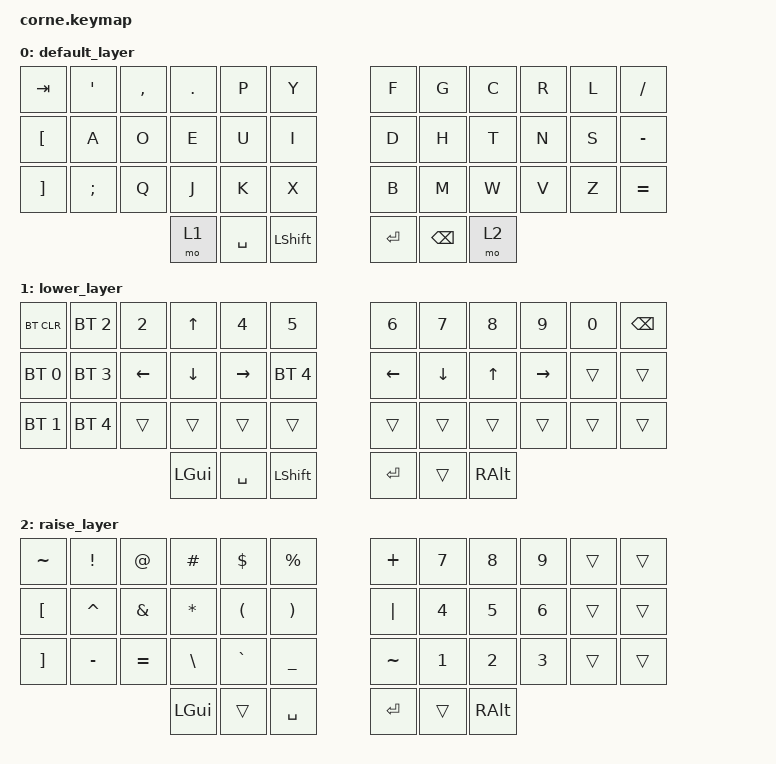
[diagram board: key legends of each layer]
/*
 * Copyright (c) 2020 The ZMK Contributors
 *
 * SPDX-License-Identifier: MIT
 */

#include <behaviors.dtsi>
#include <dt-bindings/zmk/keys.h>
#include <dt-bindings/zmk/bt.h>

/ {

        keymap {
                compatible = "zmk,keymap";

                default_layer {
// -----------------------------------------------------------------------------------------
// |  TAB |  '  |  ,  |  .  |  P  |  Y  |   |  F  |  G   |  C  |  R  |  L  | /  |
// | LBKT |  A  |  O  |  E  |  U  |  I  |   |  D  |  H   |  T  |  N  |  S  | -  |
// | RBKT |  ;  |  Q  |  J  |  K  |  X  |   |  B  |  M   |  W  |  V  |  Z  | =  |
//                    | GUI | SPACE | LSHFT |   | RET | BSPC  | GUI |
                        bindings = <
   &kp TAB  &kp SQT  &kp COMMA &kp DOT   &kp P       &kp Y    &kp F    &kp G &kp C &kp R &kp L &kp SLASH  // FIX: SLASH
   &kp LBKT &kp A    &kp O     &kp E     &kp U       &kp I    &kp D    &kp H &kp T &kp N &kp S &kp MINUS
   &kp RBKT &kp SEMI &kp Q     &kp J     &kp K       &kp X    &kp B    &kp M &kp W &kp V &kp Z &kp EQUAL
                    &mo 1      &kp SPACE &kp LSHFT   &kp RET  &kp BSPC &mo 2
                        >;
                };


                lower_layer {
// -----------------------------------------------------------------------------------------
// |  BTCLR |  BT2  |  2   |  UP  |  4    |  5  |   |  6  |  7  |  8  |  9  |  0  | BSPC |
// |  BT0   |  BT3  | LEFT | DOWN | RIGHT | BT5 |   | LFT | DWN |  UP | RGT |     |      |
// |  BT1   |  BT4  |      |      |       |     |   |     |     |     |     |     |      |
//                  |  GUI |     | SPC |   | ENT |     | ALT |
                        bindings = <
   &bt BT_CLR   &bt BT_SEL 2 &kp N2   &kp UP    &kp N4    &kp N5      &kp N6   &kp N7   &kp N8 &kp N9    &kp N0 &kp BSPC
   &bt BT_SEL 0 &bt BT_SEL 3 &kp LEFT &kp DOWN  &kp RIGHT /* FIX */   &bt BT_SEL 4  &kp LEFT &kp DOWN &kp UP &kp RIGHT &trans &trans
   &bt BT_SEL 1 &bt BT_SEL 4 &trans   &trans    &trans    &trans      &trans   &trans   &trans &trans    &trans &trans
                             &kp LGUI &kp SPACE &kp LSHFT  &kp RET     &trans   &kp RALT
                        >;
                };


                raise_layer {
// -----------------------------------------------------------------------------------------
// |  ~   |  !  |  @  |  #  |  $  |  %  |   |   +   |  7  |   8  |  9   |     |      |
// | LBKT |  ^  |  &  |  *  |  (  |  )  |   |  "|"  |  4  |   5  |  6   |     |      |
// | RBKT |  -  |  =  |  \  |  `  |  _  |   |   ~   |  1  |   2  |  3   |     |      |
//                    | GUI |     | SPC |   | ENT |     | ALT |
                        bindings = <
   &kp TILDE &kp EXCL  &kp AT    &kp HASH  &kp DLLR  &kp PRCNT  &kp PLUS  &kp N7  &kp N8 &kp N9 &trans  &trans
   &kp LBKT  &kp CARET &kp AMPS  &kp ASTRK &kp LPAR  &kp RPAR   &kp PIPE  &kp N4  &kp N5 &kp N6 &trans  &trans
   &kp RBKT  &kp MINUS &kp EQUAL &kp BSLH  &kp GRAVE &kp UNDER  &kp TILDE  &kp N1  &kp N2 &kp N3  &trans &trans
                             &kp LGUI &trans   &kp SPACE   &kp RET   &trans    &kp RALT
                        >;
                };
        };
};
